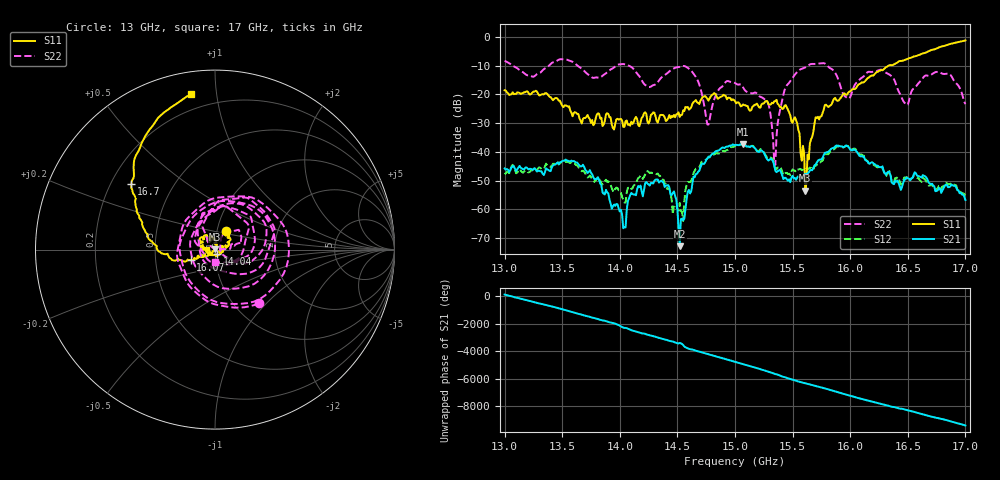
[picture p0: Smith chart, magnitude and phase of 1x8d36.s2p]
!Keysight Technologies,P9374A,MY57211807,A.19.30.04
!Date: Friday, May 08, 2026 15:19:49
!Correction: S11(C  2-Port  )
!S21(C  2-Port  )
!S12(C  2-Port  )
!S22(C  2-Port  )
!S2P File: Measurements: S11, S21, S12, S22:
# Hz S  dB  R 50
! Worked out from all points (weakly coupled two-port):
!   401 points, 13 GHz to 17 GHz, reference 50 ohm
!   highest |S21| = -37.27 dB at 15.07 GHz (marker M1); lowest = -72.9 dB at 14.52 GHz (marker M2)
!   lowest |S11| = -53.5 dB at 15.61 GHz (marker M3), VSWR 1.00, Z = 49.9 + j0.176 ohm
!   |S11| at or under -10 dB: start of sweep to 16.33 GHz
!   |S22| runs from -44.6 to -7.7 dB; largest |S21 - S12| = 0.0019
!   S11 on the Smith chart (normalised r, x): 13 GHz: 1.10, +0.23; 14.04 GHz: 1.02, -0.05; 16.07 GHz: 0.76, -0.09; 16.7 GHz: 0.28, +0.32; 17 GHz: 0.12, +0.85
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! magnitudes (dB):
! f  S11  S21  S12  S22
! 13 GHz  -18.5  -45.8  -47.8  -8.3
! 13.67 GHz  -30.1  -45.0  -46.8  -11.0
! 14.04 GHz  -31.3  -66.3  -57.7  -9.4
! 14.1 GHz  -29.5  -54.3  -52.9  -10.4
! 14.34 GHz  -28.3  -50.7  -48.3  -15.1
! 14.47 GHz  -27.1  -53.8  -58.6  -10.9
! 14.52 GHz  -27.8  -72.9  -57.8  -10.4
! 14.66 GHz  -21.9  -47.8  -45.8  -13.9
! 14.77 GHz  -22.1  -41.9  -41.6  -30.5
! 15 GHz  -22.3  -37.6  -37.9  -16.0
! 15.07 GHz  -23.5  -37.3  -37.3  -17.5
! 15.28 GHz  -22.3  -42.6  -42.2  -22.4
! 15.34 GHz  -22.4  -44.7  -44.3  -43.3
! 15.44 GHz  -23.7  -49.1  -47.3  -17.4
! 15.61 GHz  -53.5  -47.6  -45.3  -10.6
! 15.67 GHz  -34.7  -46.4  -46.3  -9.3
! 15.97 GHz  -20.1  -37.8  -37.9  -21.1
! 16.07 GHz  -16.6  -40.7  -40.3  -15.3
! 16.34 GHz  -9.8  -47.0  -46.7  -13.0
! 16.49 GHz  -7.7  -49.0  -48.8  -23.7
! 16.7 GHz  -4.6  -51.3  -51.4  -13.2
! 17 GHz  -1.2  -56.8  -55.7  -23.3
